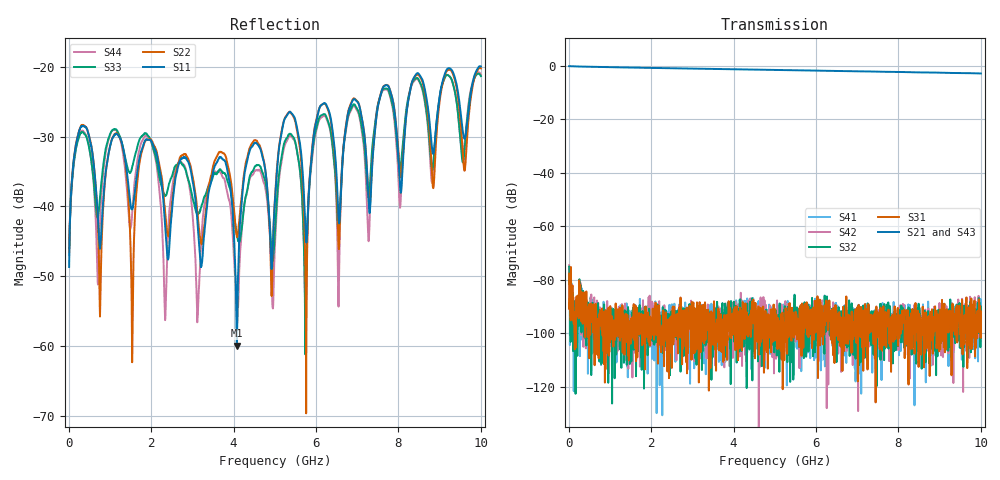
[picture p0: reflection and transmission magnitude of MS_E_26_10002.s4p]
# Hz S  RI  R 50
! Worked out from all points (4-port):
!   1601 points, 10 MHz to 10 GHz, reference 50 ohm
!   strongest paths, dB at 10 MHz, 2.507 GHz, 5.005 GHz, 7.503 GHz, 10 GHz:
!     S21: 0.0, -0.8, -1.4, -2.1, -2.8
!     S43: 0.0, -0.8, -1.5, -2.1, -2.8
!     S31: -77.7, -104.2, -92.6, -94.5, -92.0
!     S32: -75.1, -95.7, -92.2, -92.4, -90.1
!     S42: -74.6, -93.8, -97.6, -96.3, -91.6
!     S41: -77.2, -95.3, -97.0, -103.6, -99.8
!   lowest |S11| = -59.9 dB at 4.081 GHz (marker M1), VSWR 1.00, Z = 49.9 - j0.068 ohm
!   |S11| at or under -10 dB: start of sweep to end of sweep
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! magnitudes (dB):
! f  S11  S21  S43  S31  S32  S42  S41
! 10 MHz  -48.6  0.0  0.0  -77.7  -75.1  -74.6  -77.2
! 4.081 GHz  -59.9  -1.2  -1.2  -94.5  -96.1  -96.1  -96.9
! 4.493 GHz  -31.0  -1.3  -1.3  -93.6  -91.0  -91.8  -92.8
! 5.76 GHz  -45.0  -1.6  -1.7  -92.0  -108.9  -89.3  -94.1
! 6.129 GHz  -25.5  -1.7  -1.8  -101.2  -93.5  -94.4  -110.3
! 6.547 GHz  -41.8  -1.8  -1.9  -95.6  -90.3  -100.0  -92.9
! 10 GHz  -20.0  -2.8  -2.8  -92.0  -90.1  -91.6  -99.8
